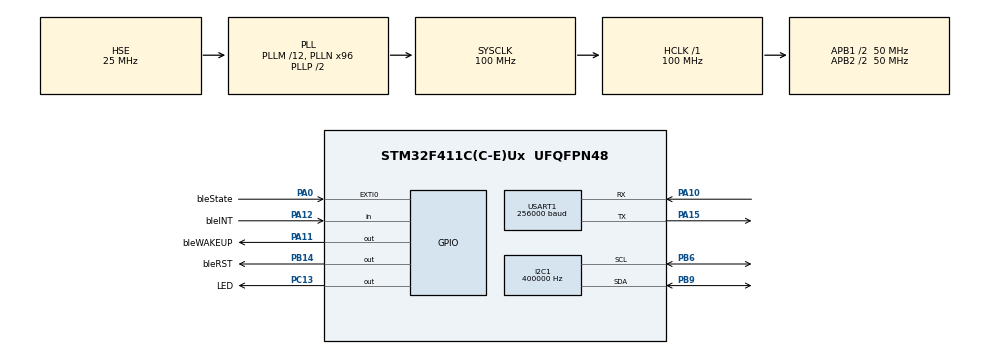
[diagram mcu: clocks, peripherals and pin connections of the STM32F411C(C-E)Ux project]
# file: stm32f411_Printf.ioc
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Dma.I2C1_RX.1.Direction=DMA_PERIPH_TO_MEMORY
Dma.I2C1_RX.1.FIFOMode=DMA_FIFOMODE_DISABLE
Dma.I2C1_RX.1.Instance=DMA1_Stream0
Dma.I2C1_RX.1.MemDataAlignment=DMA_MDATAALIGN_BYTE
Dma.I2C1_RX.1.MemInc=DMA_MINC_ENABLE
Dma.I2C1_RX.1.Mode=DMA_NORMAL
Dma.I2C1_RX.1.PeriphDataAlignment=DMA_PDATAALIGN_BYTE
Dma.I2C1_RX.1.PeriphInc=DMA_PINC_DISABLE
Dma.I2C1_RX.1.Priority=DMA_PRIORITY_VERY_HIGH
Dma.I2C1_TX.0.Direction=DMA_MEMORY_TO_PERIPH
Dma.I2C1_TX.0.FIFOMode=DMA_FIFOMODE_DISABLE
Dma.I2C1_TX.0.Instance=DMA1_Stream1
Dma.I2C1_TX.0.MemDataAlignment=DMA_MDATAALIGN_BYTE
Dma.I2C1_TX.0.MemInc=DMA_MINC_ENABLE
Dma.I2C1_TX.0.Mode=DMA_NORMAL
Dma.I2C1_TX.0.PeriphDataAlignment=DMA_PDATAALIGN_BYTE
Dma.I2C1_TX.0.PeriphInc=DMA_PINC_DISABLE
Dma.I2C1_TX.0.Priority=DMA_PRIORITY_VERY_HIGH
Dma.Request0=I2C1_TX
Dma.Request1=I2C1_RX
Dma.Request2=USART1_TX
Dma.Request3=USART1_RX
Dma.USART1_RX.3.Direction=DMA_PERIPH_TO_MEMORY
Dma.USART1_RX.3.FIFOMode=DMA_FIFOMODE_DISABLE
Dma.USART1_RX.3.Instance=DMA2_Stream5
Dma.USART1_RX.3.MemDataAlignment=DMA_MDATAALIGN_BYTE
Dma.USART1_RX.3.MemInc=DMA_MINC_ENABLE
Dma.USART1_RX.3.Mode=DMA_CIRCULAR
Dma.USART1_RX.3.PeriphDataAlignment=DMA_PDATAALIGN_BYTE
Dma.USART1_RX.3.PeriphInc=DMA_PINC_DISABLE
Dma.USART1_RX.3.Priority=DMA_PRIORITY_LOW
Dma.USART1_TX.2.Direction=DMA_MEMORY_TO_PERIPH
Dma.USART1_TX.2.FIFOMode=DMA_FIFOMODE_DISABLE
Dma.USART1_TX.2.Instance=DMA2_Stream7
Dma.USART1_TX.2.MemDataAlignment=DMA_MDATAALIGN_BYTE
Dma.USART1_TX.2.MemInc=DMA_MINC_ENABLE
Dma.USART1_TX.2.Mode=DMA_NORMAL
Dma.USART1_TX.2.PeriphDataAlignment=DMA_PDATAALIGN_BYTE
Dma.USART1_TX.2.PeriphInc=DMA_PINC_DISABLE
Dma.USART1_TX.2.Priority=DMA_PRIORITY_HIGH
FREERTOS.INCLUDE_eTaskGetState=1
FREERTOS.INCLUDE_vTaskDelayUntil=1
FREERTOS.MEMORY_ALLOCATION=0
FREERTOS.Tasks01=defaultTask,1,1024,StartDefaultTask,Default,NULL,Dynamic,NULL,NULL
FREERTOS.configCHECK_FOR_STACK_OVERFLOW=2
FREERTOS.configMINIMAL_STACK_SIZE=128
FREERTOS.configTOTAL_HEAP_SIZE=81920
FREERTOS.configUSE_STATS_FORMATTING_FUNCTIONS=1
FREERTOS.configUSE_TRACE_FACILITY=1
I2C1.ClockSpeed=400000
I2C1.I2C_Mode=I2C_Fast
Mcu.Family=STM32F4
Mcu.Name=STM32F411C(C-E)Ux
Mcu.Package=UFQFPN48
NVIC.DMA1_Stream0_IRQn=true\:7\:0\:true\:false\:true\:true\:false\:true
NVIC.DMA1_Stream1_IRQn=true\:7\:0\:true\:false\:true\:true\:false\:true
NVIC.DMA2_Stream5_IRQn=true\:9\:0\:true\:false\:true\:true\:false\:true
NVIC.DMA2_Stream7_IRQn=true\:9\:0\:true\:false\:true\:true\:false\:true
NVIC.PriorityGroup=NVIC_PRIORITYGROUP_4
NVIC.USART1_IRQn=true\:9\:0\:true\:false\:true\:true\:true\:true
PA0-WKUP.GPIO_Label=bleState
PA0-WKUP.GPIO_ModeDefaultEXTI=GPIO_MODE_IT_FALLING
PA0-WKUP.GPIO_PuPd=GPIO_PULLUP
PA0-WKUP.Signal=GPXTI0
PA10.Mode=Asynchronous
PA10.Signal=USART1_RX
PA11.GPIO_Label=bleWAKEUP
PA11.GPIO_PuPd=GPIO_PULLUP
PA11.PinState=GPIO_PIN_SET
PA11.Signal=GPIO_Output
PA12.GPIO_Label=bleINT
PA12.GPIO_PuPd=GPIO_PULLUP
PA12.Signal=GPIO_Input
PA13.Mode=Serial_Wire
PA13.Signal=SYS_JTMS-SWDIO
PA14.Mode=Serial_Wire
PA14.Signal=SYS_JTCK-SWCLK
PA15.Mode=Asynchronous
PA15.Signal=USART1_TX
PB14.GPIO_Label=bleRST
PB14.GPIO_PuPd=GPIO_PULLUP
PB14.PinState=GPIO_PIN_SET
PB14.Signal=GPIO_Output
PB6.Mode=I2C
PB6.Signal=I2C1_SCL
PB9.Mode=I2C
PB9.Signal=I2C1_SDA
PC13-ANTI_TAMP.GPIO_Label=LED
PC13-ANTI_TAMP.GPIO_PuPd=GPIO_PULLUP
PC13-ANTI_TAMP.PinState=GPIO_PIN_SET
PC13-ANTI_TAMP.Signal=GPIO_Output
PC14-OSC32_IN.Mode=LSE-External-Oscillator
PC14-OSC32_IN.Signal=RCC_OSC32_IN
PC15-OSC32_OUT.Mode=LSE-External-Oscillator
PC15-OSC32_OUT.Signal=RCC_OSC32_OUT
PH0\ -\ OSC_IN.Mode=HSE-External-Oscillator
PH0\ -\ OSC_IN.Signal=RCC_OSC_IN
PH1\ -\ OSC_OUT.Mode=HSE-External-Oscillator
PH1\ -\ OSC_OUT.Signal=RCC_OSC_OUT
ProjectManager.HeapSize=0x1000
ProjectManager.StackSize=0x4000
ProjectManager.TargetToolchain=MDK-ARM V5
RCC.48MHZClocksFreq_Value=40000000
RCC.AHBFreq_Value=100000000
RCC.APB1CLKDivider=RCC_HCLK_DIV2
RCC.APB1Freq_Value=50000000
RCC.APB1TimFreq_Value=100000000
RCC.APB2CLKDivider=RCC_HCLK_DIV2
RCC.APB2Freq_Value=50000000
RCC.APB2TimFreq_Value=100000000
RCC.CortexFreq_Value=100000000
RCC.HCLKFreq_Value=100000000
RCC.HSE_VALUE=25000000
RCC.HSI_VALUE=16000000
RCC.PLLM=12
RCC.PLLN=96
RCC.PLLQ=5
RCC.PLLSourceVirtual=RCC_PLLSOURCE_HSE
RCC.RCC_RTC_Clock_SourceVirtual=RCC_RTCCLKSOURCE_LSE
RCC.SYSCLKFreq_VALUE=100000000
RCC.SYSCLKSource=RCC_SYSCLKSOURCE_PLLCLK
RCC.VCOOutputFreq_Value=200000000
USART1.BaudRate=256000
USART1.VirtualMode=VM_ASYNC
VP_FREERTOS_VS_CMSIS_V1.Mode=CMSIS_V1
VP_RTC_VS_RTC_Activate.Mode=RTC_Enabled
board=custom

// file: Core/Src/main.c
/* USER CODE BEGIN Header */
/**
  ******************************************************************************
  * @file           : main.c
  * @brief          : Main program body
  ******************************************************************************
  * @attention
  *
  * <h2><center>&copy; Copyright (c) 2022 STMicroelectronics.
  * All rights reserved.</center></h2>
  *
  * This software component is licensed by ST under Ultimate Liberty license
  * SLA0044, the "License"; You may not use this file except in compliance with
  * the License. You may obtain a copy of the License at:
  *                             www.st.com/SLA0044
  *
  ******************************************************************************
  */
/* USER CODE END Header */

#include "main.h"
#include "cmsis_os.h"
#include "dma.h"
#include "i2c.h"
#include "rtc.h"
#include "usart.h"
#include "gpio.h"

void SystemClock_Config(void);
void MX_FREERTOS_Init(void);

int main(void)
{

  /* MCU Configuration--------------------------------------------------------*/

  /* Reset of all peripherals, Initializes the Flash interface and the Systick. */
  HAL_Init();

  /* Configure the system clock */
  SystemClock_Config();

  /* Initialize all configured peripherals */
  MX_GPIO_Init();
  MX_DMA_Init();
  MX_RTC_Init();
  MX_USART1_UART_Init();
  MX_I2C1_Init();

  /* Call init function for freertos objects (in freertos.c) */
  MX_FREERTOS_Init();

  /* Start scheduler */
  osKernelStart();

  /* We should never get here as control is now taken by the scheduler */

  /* Infinite loop */
  while (1)
  {

  }
}

void SystemClock_Config(void)
{
  RCC_OscInitTypeDef RCC_OscInitStruct = {0};
  RCC_ClkInitTypeDef RCC_ClkInitStruct = {0};
  RCC_PeriphCLKInitTypeDef PeriphClkInitStruct = {0};

  /** Configure the main internal regulator output voltage
  */
  __HAL_RCC_PWR_CLK_ENABLE();
  __HAL_PWR_VOLTAGESCALING_CONFIG(PWR_REGULATOR_VOLTAGE_SCALE1);
  /** Initializes the CPU, AHB and APB busses clocks
  */
  RCC_OscInitStruct.OscillatorType = RCC_OSCILLATORTYPE_HSE|RCC_OSCILLATORTYPE_LSE;
  RCC_OscInitStruct.HSEState = RCC_HSE_ON;
  RCC_OscInitStruct.LSEState = RCC_LSE_ON;
  RCC_OscInitStruct.PLL.PLLState = RCC_PLL_ON;
  RCC_OscInitStruct.PLL.PLLSource = RCC_PLLSOURCE_HSE;
  RCC_OscInitStruct.PLL.PLLM = 12;
  RCC_OscInitStruct.PLL.PLLN = 96;
  RCC_OscInitStruct.PLL.PLLP = RCC_PLLP_DIV2;
  RCC_OscInitStruct.PLL.PLLQ = 5;
  if (HAL_RCC_OscConfig(&RCC_OscInitStruct) != HAL_OK)
  {
    Error_Handler();
  }
  /** Initializes the CPU, AHB and APB busses clocks
  */
  RCC_ClkInitStruct.ClockType = RCC_CLOCKTYPE_HCLK|RCC_CLOCKTYPE_SYSCLK
                              |RCC_CLOCKTYPE_PCLK1|RCC_CLOCKTYPE_PCLK2;
  RCC_ClkInitStruct.SYSCLKSource = RCC_SYSCLKSOURCE_PLLCLK;
  RCC_ClkInitStruct.AHBCLKDivider = RCC_SYSCLK_DIV1;
  RCC_ClkInitStruct.APB1CLKDivider = RCC_HCLK_DIV2;
  RCC_ClkInitStruct.APB2CLKDivider = RCC_HCLK_DIV2;

  if (HAL_RCC_ClockConfig(&RCC_ClkInitStruct, FLASH_LATENCY_3) != HAL_OK)
  {
    Error_Handler();
  }
  PeriphClkInitStruct.PeriphClockSelection = RCC_PERIPHCLK_RTC;
  PeriphClkInitStruct.RTCClockSelection = RCC_RTCCLKSOURCE_LSE;
  if (HAL_RCCEx_PeriphCLKConfig(&PeriphClkInitStruct) != HAL_OK)
  {
    Error_Handler();
  }
}

void Error_Handler(void)
{
}

/************************ (C) COPYRIGHT STMicroelectronics *****END OF FILE****/

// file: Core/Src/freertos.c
/* USER CODE BEGIN Header */
/**
  ******************************************************************************
  * File Name          : freertos.c
  * Description        : Code for freertos applications
  ******************************************************************************
  * @attention
  *
  * <h2><center>&copy; Copyright (c) 2022 STMicroelectronics.
  * All rights reserved.</center></h2>
  *
  * This software component is licensed by ST under Ultimate Liberty license
  * SLA0044, the "License"; You may not use this file except in compliance with
  * the License. You may obtain a copy of the License at:
  *                             www.st.com/SLA0044
  *
  ******************************************************************************
  */
/* USER CODE END Header */

#include "FreeRTOS.h"
#include "task.h"
#include "main.h"
#include "cmsis_os.h"

/* USER CODE BEGIN Includes */
#include <bluetooth.h>
#include "usart.h"
#include "string.h"
#include "stdio.h"
#include "stdarg.h"

#include "bmx160.h"
#include "Madgwick_BMX160.h"
#include <bluetooth.h>
#include "Kalman_Filter.h"
/* USER CODE END Includes */

/* USER CODE BEGIN PTD */
#define A_PACK_INCLUDE_FRAME_NUMBER  10  //一个数据包中，包含5个数据协议帧
#define AGREEMENT_ARRAY_LENGTH 20       //一个数据协议帧中，包含40个byte
#define RECEIVE_ARRAY_LENGTH 5
/* USER CODE END PTD */

/* USER CODE BEGIN PD */
char tempChar[4];
uint32_t  computeCount = 0;

uint8_t g_bleSendArray[AGREEMENT_ARRAY_LENGTH*A_PACK_INCLUDE_FRAME_NUMBER];
uint8_t g_bleReceiveBuffer[RECEIVE_ARRAY_LENGTH];
uint8_t g_bleReceiveArray[RECEIVE_ARRAY_LENGTH];
uint8_t g_bleReceiveFlag = 0;
_Bool is6Axis = pdFALSE;
/* USER CODE END PD */

osThreadId defaultTaskHandle;

/* USER CODE BEGIN FunctionPrototypes */

void HAL_UART_RxCpltCallback(UART_HandleTypeDef *huart) {
	uint32_t tempTime = 0;

	uint8_t isSetErrorRTC = 0;

    if (huart->Instance == USART1) {
			for(uint8_t i=0;i<RECEIVE_ARRAY_LENGTH;i++){
				memcpy(&g_bleReceiveArray[0], &g_bleReceiveArray[1],RECEIVE_ARRAY_LENGTH-1);
				memcpy(&g_bleReceiveArray[RECEIVE_ARRAY_LENGTH-1], &g_bleReceiveBuffer[i],sizeof(uint8_t)*1);
				if((g_bleReceiveArray[0]==0xBB) && (g_bleReceiveArray[RECEIVE_ARRAY_LENGTH-1]==0xEE))
				{
					switch(g_bleReceiveArray[1])
					{
						case 1:
						{
							g_bleReceiveFlag=1;
						break;
						}
						case 6:
						{
							is6Axis = pdTRUE;
						break;
						}
						case 9:
						{
							is6Axis = pdFALSE;
						break;
						}
					}
					memset(g_bleReceiveBuffer,0,RECEIVE_ARRAY_LENGTH);
					memset(g_bleReceiveArray,0,RECEIVE_ARRAY_LENGTH);
					break;
				}
			}

		}
	}

/* USER CODE END FunctionPrototypes */

void StartDefaultTask(void const * argument);

void MX_FREERTOS_Init(void); /* (MISRA C 2004 rule 8.1) */

/* Hook prototypes */
void vApplicationStackOverflowHook(xTaskHandle xTask, signed char *pcTaskName);

/* USER CODE BEGIN 4 */
__weak void vApplicationStackOverflowHook(xTaskHandle xTask, signed char *pcTaskName)
{
   /* Run time stack overflow checking is performed if
   configCHECK_FOR_STACK_OVERFLOW is defined to 1 or 2. This hook function is
   called if a stack overflow is detected. */
}
/* USER CODE END 4 */

void MX_FREERTOS_Init(void) {

  /* Create the thread(s) */
  /* definition and creation of defaultTask */
  osThreadDef(defaultTask, StartDefaultTask, osPriorityAboveNormal, 0, 1024);
  defaultTaskHandle = osThreadCreate(osThread(defaultTask), NULL);

}

void StartDefaultTask(void const * argument)
{

  /* USER CODE BEGIN StartDefaultTask */
  /* Infinite loop */
	static TickType_t  xLastWakeTime;
	const TickType_t  xFrequency = pdMS_TO_TICKS(2);
	// 使用当前时间初始化变量xLastWakeTime ,注意这和vTaskDelay()函数不同
	xLastWakeTime = xTaskGetTickCount();
	osDelay(100);
	BMX160Init(2,2);

	osDelay(20);
	WLL_BLE240_Init();
	HAL_UART_Receive_DMA(&huart1,g_bleReceiveBuffer,RECEIVE_ARRAY_LENGTH);
	osDelay(20);
  while(1)
  {
		if(g_bleReceiveFlag==1)
		{
//				HAL_Delay(1000);
//				HAL_Delay(1000);
//				HAL_Delay(1000);
//				HAL_Delay(1000);
//				HAL_Delay(1000);
//			Calibration_Mag();
			Calibration_Mag();
			g_bleReceiveFlag = 0;
			memset(g_bleSendArray,0,sizeof(g_bleSendArray));
			g_bleSendArray[0] = 0xBB;
			g_bleSendArray[1] = 0xBB;
			g_bleSendArray[2] = 1;  //0 是软磁数据，1是硬磁数据，2是欧拉角数据

			//时间戳
			memcpy(&g_bleSendArray[3],&computeCount,sizeof(computeCount));
			//硬磁X
			memcpy(&g_bleSendArray[7],&mag_offset.x,sizeof(mag_offset.x));
			//硬磁Y
			memcpy(&g_bleSendArray[11],&mag_offset.y,sizeof(mag_offset.y));
			//硬磁Z
			memcpy(&g_bleSendArray[15],&mag_offset.z,sizeof(mag_offset.z));
			g_bleSendArray[19] = 0xEE;

			g_bleSendArray[20] = 0xBB;
			g_bleSendArray[21] = 0xBB;
			g_bleSendArray[22] = 0;  //0 是软磁数据，1是硬磁数据，2是欧拉角数据

			//时间戳
			memcpy(&g_bleSendArray[23],&computeCount,sizeof(computeCount));
			//软磁X
			memcpy(&g_bleSendArray[27],&mag_scale.x,sizeof(mag_scale.x));
			//软磁Y
			memcpy(&g_bleSendArray[31],&mag_scale.y,sizeof(mag_scale.y));
			//软磁Z
			memcpy(&g_bleSendArray[35],&mag_scale.z,sizeof(mag_scale.z));
			g_bleSendArray[39] = 0xEE;

			BLE240_WAKEUP();	//WAKE拉高省电，拉低通信。不影响蓝牙连接
			;;;;;;;;;;
			HAL_UART_Transmit_DMA(&huart1, g_bleSendArray, sizeof(g_bleSendArray));
			HAL_Delay(20);
			memset(g_bleSendArray,0,sizeof(g_bleSendArray));
			computeCount=0;
			g_bleReceiveFlag = 0;
		}

		computeEuler(2,2);

		if(is6Axis){
			_mag_filter_value.x = 0.0f;
			_mag_filter_value.y = 0.0f;
			_mag_filter_value.z = 0.0f;
		}
		imu_solution_9axis(_gyro_filter_value.x, _gyro_filter_value.y, _gyro_filter_value.z, _accel_filter_value.x, _accel_filter_value.y, _accel_filter_value.z, _mag_filter_value.x, _mag_filter_value.y, _mag_filter_value.z, 0.002);

		euler_angle.pitch = kalmanFilter(&KFP_pitch, euler_angle.pitch);
		euler_angle.yaw = kalmanFilter(&KFP_yaw, euler_angle.yaw);
		euler_angle.roll = kalmanFilter(&KFP_roll, euler_angle.roll);

//		memcpy(&tempChar,&valueInt,sizeof(valueInt));

		g_bleSendArray[(computeCount%A_PACK_INCLUDE_FRAME_NUMBER)*AGREEMENT_ARRAY_LENGTH + 0] = 0xBB;
		g_bleSendArray[(computeCount%A_PACK_INCLUDE_FRAME_NUMBER)*AGREEMENT_ARRAY_LENGTH + 1] = 0xBB;
		g_bleSendArray[(computeCount%A_PACK_INCLUDE_FRAME_NUMBER)*AGREEMENT_ARRAY_LENGTH + 2] = 2;  //0 是软磁数据，1是硬磁数据，2是欧拉角数据

		//时间戳
		memcpy(&g_bleSendArray[computeCount%A_PACK_INCLUDE_FRAME_NUMBER*AGREEMENT_ARRAY_LENGTH + 3],&computeCount,4);
		//pitch
		memcpy(&g_bleSendArray[computeCount%A_PACK_INCLUDE_FRAME_NUMBER*AGREEMENT_ARRAY_LENGTH + 7],&euler_angle.pitch,4);
		//yaw
		memcpy(&g_bleSendArray[computeCount%A_PACK_INCLUDE_FRAME_NUMBER*AGREEMENT_ARRAY_LENGTH + 11],&euler_angle.yaw,4);
		//roll
		memcpy(&g_bleSendArray[computeCount%A_PACK_INCLUDE_FRAME_NUMBER*AGREEMENT_ARRAY_LENGTH + 15],&euler_angle.roll,4);
		g_bleSendArray[(computeCount%A_PACK_INCLUDE_FRAME_NUMBER)*AGREEMENT_ARRAY_LENGTH + 19] = 0xEE;

		computeCount++;

		if(computeCount%80==0){
			LED_GREEN_Toggle();
		}

		if(computeCount%A_PACK_INCLUDE_FRAME_NUMBER == 0)
		{
			BLE240_WAKEUP();	//WAKE拉高省电，拉低通信。不影响蓝牙连接
			for(int i=0;i<10;i++){;}
			HAL_UART_Transmit_DMA(&huart1, g_bleSendArray, sizeof(g_bleSendArray));
		}

    vTaskDelayUntil( &xLastWakeTime,xFrequency );   //采用绝对延时，确保线程执行周期稳定 Luzh
  }
  /* USER CODE END StartDefaultTask */
}

/************************ (C) COPYRIGHT STMicroelectronics *****END OF FILE****/
